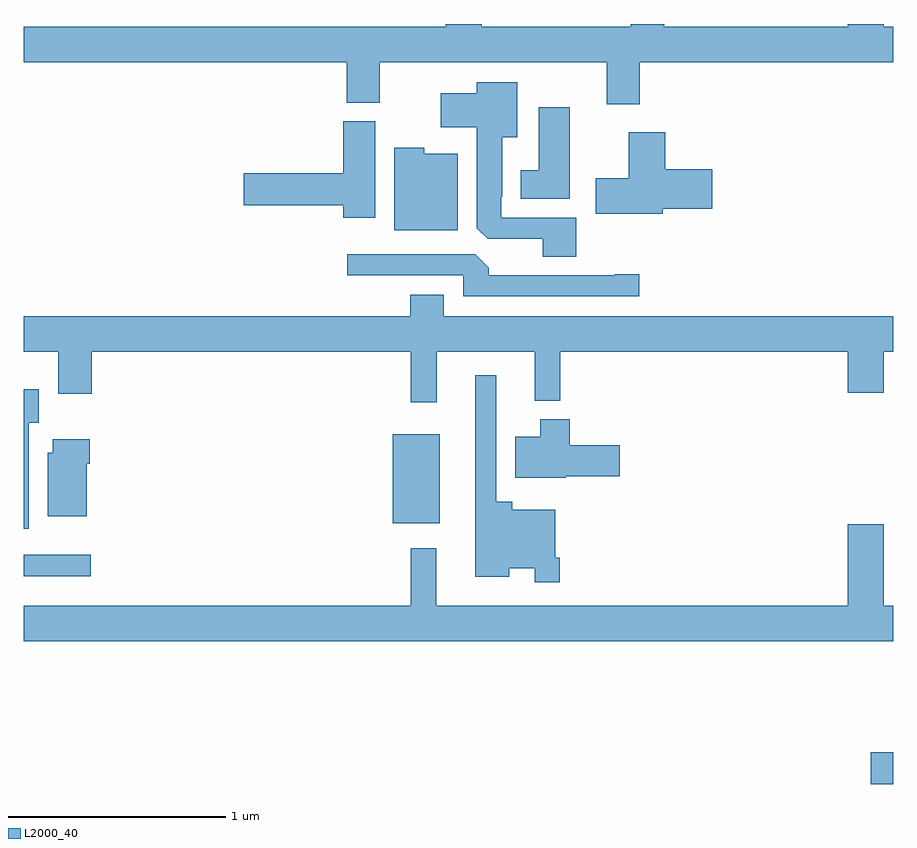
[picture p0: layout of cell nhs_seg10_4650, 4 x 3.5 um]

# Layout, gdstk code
import gdstk
lib = gdstk.Library(unit=1e-6, precision=1e-09)
def R(c, l, rs):  # rectangles x0, y0, x1, y1
    for r in rs: c.add(gdstk.rectangle(r[:2], r[2:], *l))
def P(c, l, *ps):  # polygons
    for p in ps: c.add(gdstk.Polygon(p, *l))
L2000_40 = (2000, 40)

nhs_seg10_4650 = lib.new_cell('nhs_seg10_4650')
R(nhs_seg10_4650, L2000_40, [(380.898,1289.003,381,1289.15), (377,1289.96,377.308,1290.057), (378.698,1290.203,378.913,1290.613)])
P(nhs_seg10_4650, L2000_40, [(379.835,1292.324),(381,1292.324),(381,1292.488),(380.956,1292.488),(380.956,1292.5),(380.792,1292.5),(380.792,1292.488),(379.946,1292.488),(379.946,1292.5),(379.793,1292.5),(379.793,1292.488),(379.106,1292.488),(379.106,1292.5),(378.941,1292.5),(378.941,1292.488),(377,1292.488),(377,1292.324),(378.485,1292.324),(378.485,1292.137),(378.637,1292.137),(378.637,1292.324),(379.682,1292.324),(379.682,1292.13),(379.835,1292.13)],
  [(379.541,1291.608),(379.197,1291.608),(379.197,1291.705),(379.201,1291.705),(379.201,1291.979),(379.27,1291.979),(379.27,1292.233),(379.085,1292.233),(379.085,1292.182),(378.918,1292.182),(378.918,1292.024),(379.085,1292.024),(379.085,1291.561),(379.134,1291.512),(379.388,1291.512),(379.388,1291.429),(379.541,1291.429)],
  [(379.513,1292.116),(379.37,1292.116),(379.37,1291.828),(379.286,1291.828),(379.286,1291.697),(379.513,1291.697)],
  [(378.616,1292.052),(378.47,1292.052),(378.47,1291.814),(378.012,1291.814),(378.012,1291.667),(378.47,1291.667),(378.47,1291.608),(378.616,1291.608)],
  [(379.939,1291.649),(380.167,1291.649),(380.167,1291.832),(379.952,1291.832),(379.952,1292.002),(379.784,1292.002),(379.784,1291.791),(379.632,1291.791),(379.632,1291.628),(379.939,1291.628)],
  [(378.997,1291.903),(378.843,1291.903),(378.843,1291.93),(378.704,1291.93),(378.704,1291.55),(378.997,1291.55)],
  [(379.831,1291.349),(379.718,1291.349),(379.718,1291.344),(379.139,1291.344),(379.139,1291.378),(379.077,1291.44),(378.489,1291.44),(378.489,1291.344),(379.023,1291.344),(379.023,1291.248),(379.831,1291.248)],
  [(378.781,1290.759),(378.899,1290.759),(378.899,1290.992),(379.352,1290.992),(379.352,1290.767),(379.469,1290.767),(379.469,1290.992),(380.792,1290.992),(380.792,1290.804),(380.956,1290.804),(380.956,1290.992),(381,1290.992),(381,1291.156),(378.931,1291.156),(378.931,1291.255),(378.779,1291.255),(378.779,1291.156),(377,1291.156),(377,1290.992),(377.159,1290.992),(377.159,1290.798),(377.312,1290.798),(377.312,1290.992),(378.781,1290.992)],
  [(379.466,1290.043),(379.446,1290.043),(379.446,1290.265),(379.247,1290.265),(379.247,1290.301),(379.173,1290.301),(379.173,1290.883),(379.076,1290.883),(379.076,1289.957),(379.234,1289.957),(379.234,1289.996),(379.35,1289.996),(379.35,1289.931),(379.466,1289.931)],
  [(377.023,1290.666),(377.068,1290.666),(377.068,1290.82),(377,1290.82),(377,1290.177),(377.023,1290.177)],
  [(379.494,1290.419),(379.741,1290.419),(379.741,1290.561),(379.511,1290.561),(379.511,1290.682),(379.376,1290.682),(379.376,1290.601),(379.262,1290.601),(379.262,1290.413),(379.494,1290.413)],
  [(377.29,1290.476),(377.303,1290.476),(377.303,1290.589),(377.132,1290.589),(377.132,1290.528),(377.111,1290.528),(377.111,1290.236),(377.29,1290.236)],
  [(381,1289.824),(380.956,1289.824),(380.956,1290.199),(380.792,1290.199),(380.792,1289.824),(378.898,1289.824),(378.898,1290.088),(378.781,1290.088),(378.781,1289.824),(377,1289.824),(377,1289.66),(381,1289.66)])

lib.write_gds('nhs_seg10_4650.gds')
